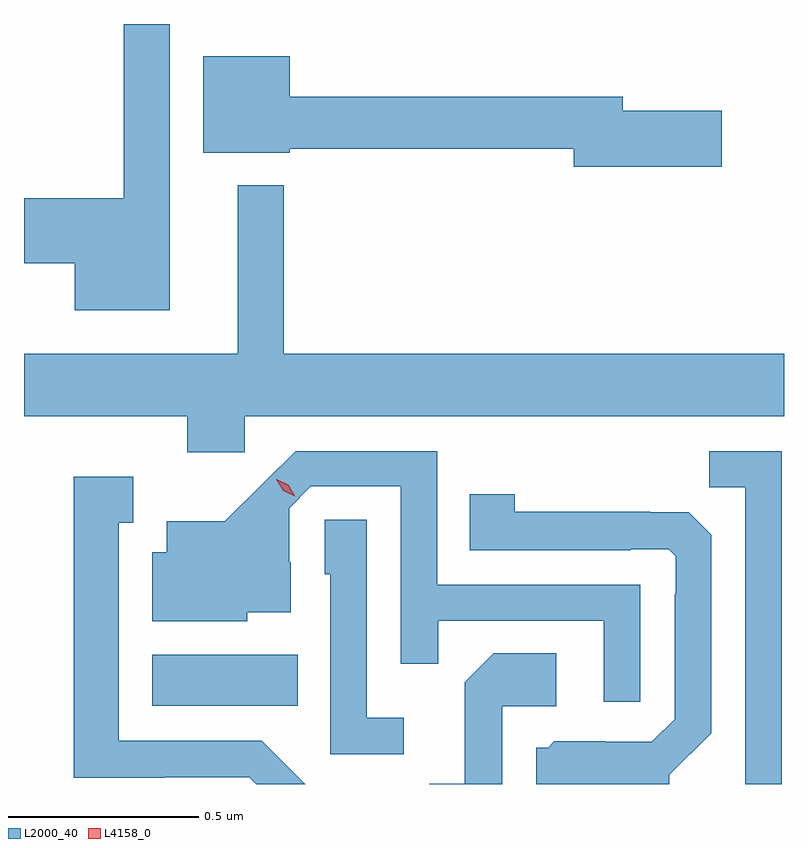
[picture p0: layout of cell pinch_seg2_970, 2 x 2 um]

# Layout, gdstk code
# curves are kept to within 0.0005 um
import gdstk
lib = gdstk.Library(unit=1e-6, precision=1e-09)
def R(c, l, rs):  # rectangles x0, y0, x1, y1
    for r in rs: c.add(gdstk.rectangle(r[:2], r[2:], *l))
def P(c, l, *ps):  # polygons
    for p in ps: c.add(gdstk.Polygon(p, *l))
L2000_40 = (2000, 40)
L4158_0 = (4158, 0)

pinch_seg2_970 = lib.new_cell('pinch_seg2_970')
R(pinch_seg2_970, L2000_40, [(317.192,652.202,317.576,652.336)])
P(pinch_seg2_970, L2000_40, [(317.239,653.996),(317.118,653.996),(317.118,653.537),(316.855,653.537),(316.855,653.366),(316.988,653.366),(316.988,653.243),(317.239,653.243)],
  [(318.691,653.768),(318.43,653.768),(318.43,653.804),(317.554,653.804),(317.554,653.911),(317.327,653.911),(317.327,653.657),(317.554,653.657),(317.554,653.668),(318.302,653.668),(318.302,653.621),(318.691,653.621)],
  [(317.436,652.964),(318.855,652.964),(318.855,653.128),(317.539,653.128),(317.539,653.572),(317.417,653.572),(317.417,653.128),(316.855,653.128),(316.855,652.964),(317.285,652.964),(317.285,652.869),(317.436,652.869)],
  [(318.849,652.872),(318.658,652.872),(318.658,652.777),(318.753,652.777),(318.753,651.996),(318.849,651.996)],
  [(318.477,652.521),(317.943,652.521),(317.943,652.872),(317.57,652.872),(317.383,652.687),(317.231,652.687),(317.231,652.606),(317.192,652.606),(317.192,652.424),(317.442,652.424),(317.442,652.448),(317.557,652.448),(317.557,652.58),(317.553,652.58),(317.553,652.722),(317.61,652.779),(317.847,652.779),(317.847,652.312),(317.945,652.312),(317.945,652.425),(318.381,652.425),(318.381,652.212),(318.477,652.212)],
  [(317.481,652.11),(317.104,652.11),(317.104,652.683),(317.143,652.683),(317.143,652.804),(316.986,652.804),(316.986,652.013),(317.226,652.013),(317.226,652.014),(317.448,652.014),(317.466,651.996),(317.595,651.996)],
  [(318.553,652.02),(318.663,652.13),(318.663,652.652),(318.604,652.711),(318.503,652.711),(318.503,652.712),(318.147,652.712),(318.147,652.759),(318.028,652.759),(318.028,652.611),(318.452,652.611),(318.452,652.614),(318.552,652.614),(318.57,652.596),(318.57,652.496),(318.567,652.496),(318.567,652.167),(318.507,652.107),(318.384,652.107),(318.384,652.108),(318.25,652.108),(318.234,652.092),(318.203,652.092),(318.203,651.996),(318.553,651.996)],
  [(317.854,652.171),(317.757,652.171),(317.757,652.691),(317.646,652.691),(317.646,652.548),(317.661,652.548),(317.661,652.074),(317.854,652.074)],
  [(318.114,652.2),(318.256,652.2),(318.256,652.34),(318.091,652.34),(318.015,652.264),(318.015,651.997),(317.921,651.997),(317.921,651.996),(318.114,651.996)])
P(pinch_seg2_970, L4158_0, [(317.567,652.753),(317.537,652.768),(317.519,652.798),(317.519,652.798),(317.52,652.798),(317.55,652.783),(317.568,652.754),(317.568,652.753)])

lib.write_gds('pinch_seg2_970.gds')
